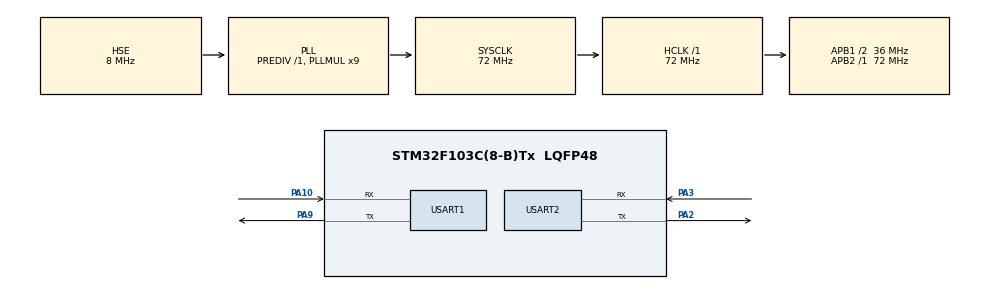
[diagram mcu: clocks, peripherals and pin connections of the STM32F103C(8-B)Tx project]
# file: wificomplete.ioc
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Mcu.Family=STM32F1
Mcu.Name=STM32F103C(8-B)Tx
Mcu.Package=LQFP48
NVIC.PriorityGroup=NVIC_PRIORITYGROUP_4
PA10.Mode=Asynchronous
PA10.Signal=USART1_RX
PA13.Mode=Serial_Wire
PA13.Signal=SYS_JTMS-SWDIO
PA14.Mode=Serial_Wire
PA14.Signal=SYS_JTCK-SWCLK
PA2.Mode=Asynchronous
PA2.Signal=USART2_TX
PA3.Mode=Asynchronous
PA3.Signal=USART2_RX
PA9.Mode=Asynchronous
PA9.Signal=USART1_TX
PD0-OSC_IN.Mode=HSE-External-Oscillator
PD0-OSC_IN.Signal=RCC_OSC_IN
PD1-OSC_OUT.Mode=HSE-External-Oscillator
PD1-OSC_OUT.Signal=RCC_OSC_OUT
ProjectManager.HeapSize=0x200
ProjectManager.StackSize=0x400
ProjectManager.TargetToolchain=MDK-ARM V5.32
RCC.AHBFreq_Value=72000000
RCC.APB1CLKDivider=RCC_HCLK_DIV2
RCC.APB1Freq_Value=36000000
RCC.APB1TimFreq_Value=72000000
RCC.APB2Freq_Value=72000000
RCC.APB2TimFreq_Value=72000000
RCC.HCLKFreq_Value=72000000
RCC.PLLMUL=RCC_PLL_MUL9
RCC.PLLSourceVirtual=RCC_PLLSOURCE_HSE
RCC.SYSCLKFreq_VALUE=72000000
RCC.SYSCLKSource=RCC_SYSCLKSOURCE_PLLCLK
RCC.USBFreq_Value=72000000
USART1.VirtualMode=VM_ASYNC
USART2.VirtualMode=VM_ASYNC
board=custom

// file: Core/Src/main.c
/* USER CODE BEGIN Header */
/**
  ******************************************************************************
  * @file           : main.c
  * @brief          : Main program body
  ******************************************************************************
  * @attention
  *
  * Copyright (c) 2026 STMicroelectronics.
  * All rights reserved.
  *
  * This software is licensed under terms that can be found in the LICENSE file
  * in the root directory of this software component.
  * If no LICENSE file comes with this software, it is provided AS-IS.
  *
  ******************************************************************************
  */
/* USER CODE END Header */
#include "main.h"
/* USER CODE BEGIN Includes */
#include<string.h>
#include<stdio.h>
#include<stdlib.h>
/* USER CODE END Includes */

UART_HandleTypeDef huart1;
UART_HandleTypeDef huart2;

void SystemClock_Config(void);
static void MX_GPIO_Init(void);
static void MX_USART1_UART_Init(void);
static void MX_USART2_UART_Init(void);

/* USER CODE BEGIN 0 */
void send(char *cmd, uint32_t timeout_ms)
	{
uint8_t ch;

HAL_UART_Transmit(&huart1, (uint8_t*)cmd, strlen(cmd), HAL_MAX_DELAY);  // 4 bytes, no '\0'

while (HAL_UART_Receive(&huart1, &ch, 1, timeout_ms) == HAL_OK)
{
        HAL_UART_Transmit(&huart2, &ch, 1, HAL_MAX_DELAY);

}
}
int count=0;
void http_server(void)
{
    uint8_t ch;
    char header[64];
    int i = 0;
    int link_id;
    int data_len;
    char *p;
    char *comma;

    while (1)
    {
        /* Read data from Wemos */
        if (HAL_UART_Receive(&huart1, &ch, 1, HAL_MAX_DELAY) != HAL_OK)
            continue;

        /* Forward received data to PuTTY for debugging */
        HAL_UART_Transmit(&huart2, &ch, 1, HAL_MAX_DELAY);

        /* Collect the +IPD header until ':' */
        if (i < (int)sizeof(header) - 1)
        {
            header[i++] = ch;
        }
        else
        {
            i = 0;
            continue;
        }

        if (ch == ':')
        {
            header[i] = '\0';

            p = strstr(header, "+IPD,");

            if (p != NULL)
            {
                /* Parse +IPD,<link_id>,<length>: */
                link_id = atoi(p + 5);
                comma = strchr(p + 5, ',');

                if (comma != NULL)
                {
                    data_len = atoi(comma + 1);

                    /* Read and discard the HTTP request payload */
                    while (data_len > 0)
                    {
                        if (HAL_UART_Receive(&huart1, &ch, 1, 2000) == HAL_OK)
                        {
                            HAL_UART_Transmit(&huart2, &ch, 1, HAL_MAX_DELAY);
                            data_len--;
                        }
                        else
                        {
                            break;
                        }
                    }

                    /* Send HTTP response */
                    {
                        char response[] =
                            "HTTP/1.1 200 OK\r\n"
                            "Content-Type: text/plain\r\n"
                            "Content-Length: 21\r\n"
                            "Connection: close\r\n"
                            "\r\n"
                            "Dr.Dinesh is GREAT!!!";

                        char cmd[32];

                        snprintf(cmd, sizeof(cmd),
                                 "AT+CIPSEND=%d,%d\r\n",
                                 link_id, (int)strlen(response));

                        HAL_UART_Transmit(&huart1, (uint8_t *)cmd,
                                          strlen(cmd), HAL_MAX_DELAY);

                        /* Wait for the '>' prompt */
                        while (1)
                        {
                            if (HAL_UART_Receive(&huart1, &ch, 1,
                                                 3000) != HAL_OK)
                                break;

                            HAL_UART_Transmit(&huart2, &ch, 1,
                                              HAL_MAX_DELAY);

                            if (ch == '>')
                            {
                                HAL_UART_Transmit(&huart1,
                                    (uint8_t *)response,
                                    strlen(response), HAL_MAX_DELAY);
                                break;
                            }
                        }
                    }

                    HAL_Delay(500);

                    /* Close this browser connection */
                    {
                        char close_cmd[24];

                        snprintf(close_cmd, sizeof(close_cmd),
                                 "AT+CIPCLOSE=%d\r\n", link_id);

                        HAL_UART_Transmit(&huart1,
                            (uint8_t *)close_cmd,
                            strlen(close_cmd), HAL_MAX_DELAY);
                    }
                }
            }

            i = 0;
        }
    }
}
/* USER CODE END 0 */

int main(void)
{

  /* MCU Configuration--------------------------------------------------------*/

  /* Reset of all peripherals, Initializes the Flash interface and the Systick. */
  HAL_Init();

  /* Configure the system clock */
  SystemClock_Config();

  /* Initialize all configured peripherals */
  MX_GPIO_Init();
  MX_USART1_UART_Init();
  MX_USART2_UART_Init();
  /* USER CODE BEGIN 2 */

HAL_Delay(2000);  // let the Wemos boot
	send("AT\r\n",1000);
	send("AT+CWMODE=1\r\n",1000);
	send("AT+CWJAP=\"SNUC\",\"snu12345\"\r\n",5000);

	send("AT+CIFSR\r\n",1000);
	send("AT+CIPSTATUS\r\n",1000);
	send("AT+CIPMUX=1\r\n",1000);

	send("AT+CIPSERVER=1,80\r\n",10000);
	//send("AT+CIPSEND=44\r\n",1000);

  /* USER CODE END 2 */
http_server();
  /* Infinite loop */
  /* USER CODE BEGIN WHILE */
	// Wait here until a browser request arrives
  while (1)
  {
    /* USER CODE END WHILE */

  }
}

void SystemClock_Config(void)
{
  RCC_OscInitTypeDef RCC_OscInitStruct = {0};
  RCC_ClkInitTypeDef RCC_ClkInitStruct = {0};

  /** Initializes the RCC Oscillators according to the specified parameters
  * in the RCC_OscInitTypeDef structure.
  */
  RCC_OscInitStruct.OscillatorType = RCC_OSCILLATORTYPE_HSE;
  RCC_OscInitStruct.HSEState = RCC_HSE_ON;
  RCC_OscInitStruct.HSEPredivValue = RCC_HSE_PREDIV_DIV1;
  RCC_OscInitStruct.HSIState = RCC_HSI_ON;
  RCC_OscInitStruct.PLL.PLLState = RCC_PLL_ON;
  RCC_OscInitStruct.PLL.PLLSource = RCC_PLLSOURCE_HSE;
  RCC_OscInitStruct.PLL.PLLMUL = RCC_PLL_MUL9;
  if (HAL_RCC_OscConfig(&RCC_OscInitStruct) != HAL_OK)
  {
    Error_Handler();
  }

  /** Initializes the CPU, AHB and APB buses clocks
  */
  RCC_ClkInitStruct.ClockType = RCC_CLOCKTYPE_HCLK|RCC_CLOCKTYPE_SYSCLK
                              |RCC_CLOCKTYPE_PCLK1|RCC_CLOCKTYPE_PCLK2;
  RCC_ClkInitStruct.SYSCLKSource = RCC_SYSCLKSOURCE_PLLCLK;
  RCC_ClkInitStruct.AHBCLKDivider = RCC_SYSCLK_DIV1;
  RCC_ClkInitStruct.APB1CLKDivider = RCC_HCLK_DIV2;
  RCC_ClkInitStruct.APB2CLKDivider = RCC_HCLK_DIV1;

  if (HAL_RCC_ClockConfig(&RCC_ClkInitStruct, FLASH_LATENCY_2) != HAL_OK)
  {
    Error_Handler();
  }
}

static void MX_USART1_UART_Init(void)
{

  huart1.Instance = USART1;
  huart1.Init.BaudRate = 115200;
  huart1.Init.WordLength = UART_WORDLENGTH_8B;
  huart1.Init.StopBits = UART_STOPBITS_1;
  huart1.Init.Parity = UART_PARITY_NONE;
  huart1.Init.Mode = UART_MODE_TX_RX;
  huart1.Init.HwFlowCtl = UART_HWCONTROL_NONE;
  huart1.Init.OverSampling = UART_OVERSAMPLING_16;
  if (HAL_UART_Init(&huart1) != HAL_OK)
  {
    Error_Handler();
  }

}

static void MX_USART2_UART_Init(void)
{

  huart2.Instance = USART2;
  huart2.Init.BaudRate = 115200;
  huart2.Init.WordLength = UART_WORDLENGTH_8B;
  huart2.Init.StopBits = UART_STOPBITS_1;
  huart2.Init.Parity = UART_PARITY_NONE;
  huart2.Init.Mode = UART_MODE_TX_RX;
  huart2.Init.HwFlowCtl = UART_HWCONTROL_NONE;
  huart2.Init.OverSampling = UART_OVERSAMPLING_16;
  if (HAL_UART_Init(&huart2) != HAL_OK)
  {
    Error_Handler();
  }

}

static void MX_GPIO_Init(void)
{

  /* GPIO Ports Clock Enable */
  __HAL_RCC_GPIOD_CLK_ENABLE();
  __HAL_RCC_GPIOA_CLK_ENABLE();

}

void Error_Handler(void)
{
  __disable_irq();
  while (1)
  {
  }
}
